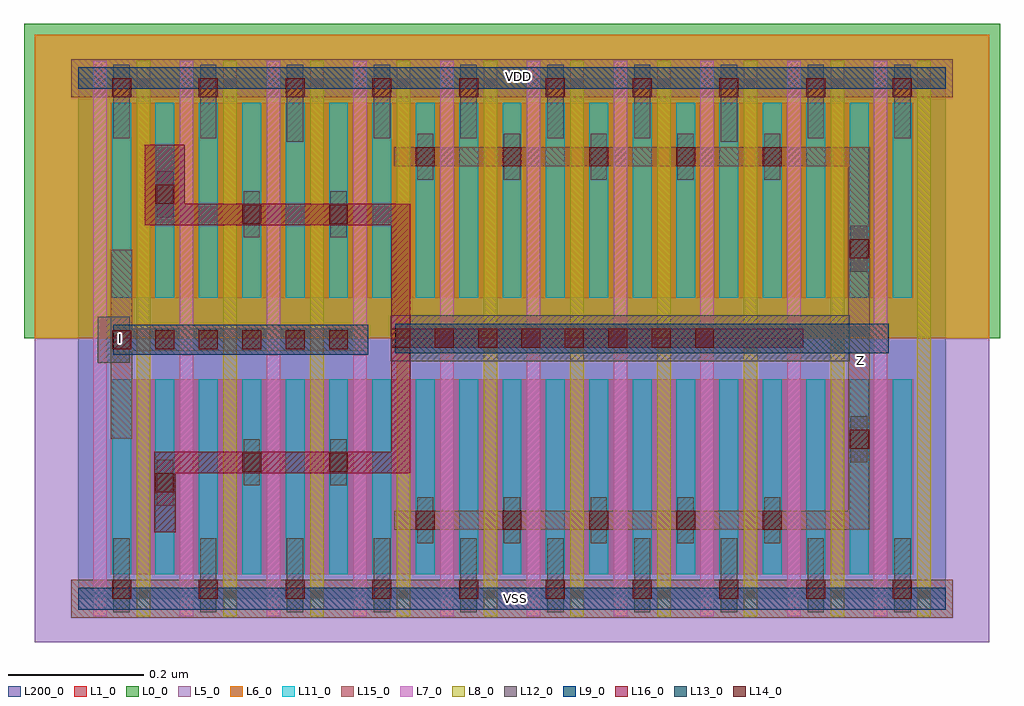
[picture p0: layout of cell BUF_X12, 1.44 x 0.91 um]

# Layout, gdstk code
import gdstk
lib = gdstk.Library(unit=1e-6, precision=1e-09)
def R(c, l, rs):  # rectangles x0, y0, x1, y1
    for r in rs: c.add(gdstk.rectangle(r[:2], r[2:], *l))
def A(c, l, x, y, w, h, nx, ny, dx, dy):  # array of equal rectangles
    R(c, l, [(x+i*dx, y+j*dy, x+i*dx+w, y+j*dy+h) for i in range(nx) for j in range(ny)])
def P(c, l, *ps):  # polygons
    for p in ps: c.add(gdstk.Polygon(p, *l))
L0_0 = (0, 0)
L1_0 = (1, 0)
L5_0 = (5, 0)
L6_0 = (6, 0)
L7_0 = (7, 0)
L8_0 = (8, 0)
L9_0 = (9, 0)
L11_0 = (11, 0)
L12_0 = (12, 0)
L13_0 = (13, 0)
L14_0 = (14, 0)
L15_0 = (15, 0)
L16_0 = (16, 0)
L200_0 = (200, 0)

buf_x12 = lib.new_cell('BUF_X12')
R(buf_x12, L0_0, [(-0.08,0.384,1.36,0.848)])
R(buf_x12, L1_0, [(0.048,0.036,1.232,0.324), (0.048,0.444,1.232,0.732)])
R(buf_x12, L5_0, [(-0.064,-0.064,1.344,0.384)])
R(buf_x12, L6_0, [(-0.064,0.384,1.344,0.832)])
A(buf_x12, L7_0, 0.022, -0.026, 0.02, 0.82, 10, 1, 0.128, 0)
A(buf_x12, L8_0, 0.086, -0.026, 0.02, 0.82, 10, 1, 0.128, 0)
R(buf_x12, L9_0, [(0,-0.016,1.28,0.016), (0,0.752,1.28,0.784)])
A(buf_x12, L11_0, 0.05, 0.036, 0.028, 0.288, 19, 2, 0.064, 0.408)
A(buf_x12, L12_0, 0.052, -0.02, 0.024, 0.109, 10, 1, 0.128, 0)
A(buf_x12, L12_0, 0.5, 0.082, 0.024, 0.068, 5, 2, 0.128, 0.536)
A(buf_x12, L12_0, 0.436, 0.679, 0.024, 0.109, 4, 1, 0.128, 0)
R(buf_x12, L12_0, [(0.116,0.137,0.14,0.205), (0.244,0.167,0.268,0.235), (0.372,0.167,0.396,0.235), (1.14,0.201,1.164,0.269), (0.029,0.348,0.076,0.416), (0.461,0.35,1.138,0.418), (1.14,0.482,1.164,0.55), (0.244,0.533,0.268,0.601), (0.372,0.533,0.396,0.601), (0.116,0.563,0.14,0.631), (0.308,0.674,0.332,0.788), (0.948,0.674,0.972,0.788), (0.052,0.679,0.076,0.788), (0.18,0.679,0.204,0.788), (1.076,0.679,1.1,0.788), (1.204,0.679,1.228,0.788)])
R(buf_x12, L13_0, [(0.052,0.36,0.428,0.404), (0.468,0.362,1.196,0.406)])
A(buf_x12, L14_0, 0.05, 0, 0.028, 0.028, 10, 2, 0.128, 0.74)
A(buf_x12, L14_0, 0.498, 0.102, 0.028, 0.028, 5, 2, 0.128, 0.536)
A(buf_x12, L14_0, 0.05, 0.368, 0.028, 0.028, 6, 1, 0.064, 0)
A(buf_x12, L14_0, 0.462, 0.37, 0.028, 0.028, 8, 1, 0.064, 0)
R(buf_x12, L14_0, [(0.114,0.157,0.142,0.185), (0.242,0.187,0.27,0.215), (0.37,0.187,0.398,0.215), (1.138,0.221,1.166,0.249), (1.138,0.502,1.166,0.53), (0.242,0.553,0.27,0.581), (0.37,0.553,0.398,0.581), (0.114,0.583,0.142,0.611)])
R(buf_x12, L15_0, [(-0.01,-0.028,1.29,0.028), (-0.01,0.74,1.29,0.796)])
P(buf_x12, L15_0, [(0.048,0.236),(0.08,0.236),(0.08,0.366),(0.426,0.366),(0.426,0.398),(0.08,0.398),(0.08,0.515),(0.048,0.515)],
  [(0.466,0.638),(1.136,0.638),(1.136,0.13),(0.466,0.13),(0.466,0.102),(1.168,0.102),(1.168,0.666),(0.466,0.666)])
P(buf_x12, L16_0, [(0.098,0.551),(0.462,0.551),(0.462,0.217),(0.112,0.217),(0.112,0.098),(0.144,0.098),(0.144,0.185),(0.49,0.185),(0.49,0.37),(1.07,0.37),(1.07,0.398),(0.49,0.398),(0.49,0.583),(0.157,0.583),(0.157,0.67),(0.098,0.67)])
R(buf_x12, L200_0, [(0,0,1.28,0.768)])
buf_x12.add(gdstk.Label('VSS', (0.645,0.001), layer=15, texttype=20))
buf_x12.add(gdstk.Label('I', (0.062,0.384), layer=15, texttype=20))
buf_x12.add(gdstk.Label('Z', (1.154,0.352), layer=15, texttype=20))
buf_x12.add(gdstk.Label('VDD', (0.649,0.77), layer=15, texttype=20))

lib.write_gds('BUF_X12.gds')
